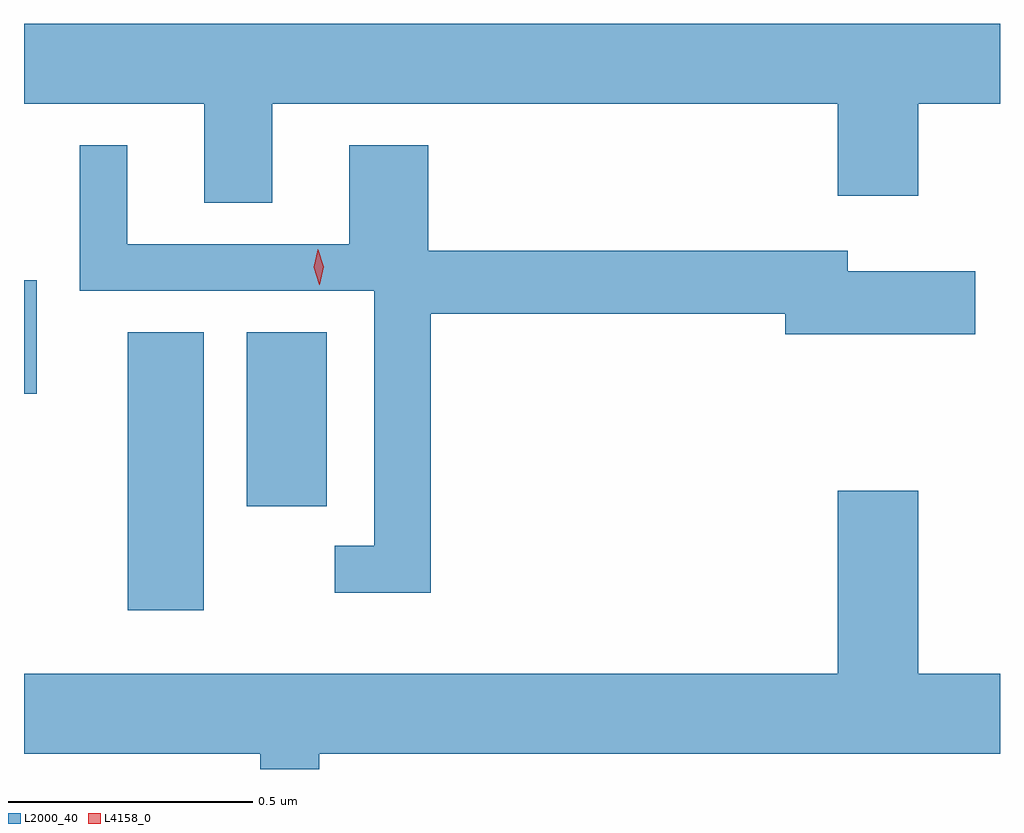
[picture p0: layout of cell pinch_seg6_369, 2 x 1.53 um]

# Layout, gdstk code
import gdstk
lib = gdstk.Library(unit=1e-6, precision=1e-09)
def R(c, l, rs):  # rectangles x0, y0, x1, y1
    for r in rs: c.add(gdstk.rectangle(r[:2], r[2:], *l))
def P(c, l, *ps):  # polygons
    for p in ps: c.add(gdstk.Polygon(p, *l))
L2000_40 = (2000, 40)
L4158_0 = (4158, 0)

pinch_seg6_369 = lib.new_cell('pinch_seg6_369')
R(pinch_seg6_369, L2000_40, [(667.049,938.307,667.204,938.876), (667.292,938.52,667.456,938.876), (666.836,938.75,666.862,938.983)])
P(pinch_seg6_369, L2000_40, [(667.345,939.344),(668.504,939.344),(668.504,939.156),(668.668,939.156),(668.668,939.344),(668.836,939.344),(668.836,939.508),(666.836,939.508),(666.836,939.344),(667.205,939.344),(667.205,939.142),(667.345,939.142)],
  [(667.67,938.914),(668.396,938.914),(668.396,938.872),(668.785,938.872),(668.785,939.001),(668.524,939.001),(668.524,939.043),(667.664,939.043),(667.664,939.259),(667.502,939.259),(667.502,939.057),(667.048,939.057),(667.048,939.259),(666.95,939.259),(666.95,938.961),(667.554,938.961),(667.554,938.439),(667.473,938.439),(667.473,938.342),(667.67,938.342)],
  [(667.441,938.012),(668.836,938.012),(668.836,938.176),(668.668,938.176),(668.668,938.551),(668.504,938.551),(668.504,938.176),(666.836,938.176),(666.836,938.012),(667.32,938.012),(667.32,937.981),(667.441,937.981)])
P(pinch_seg6_369, L4158_0, [(667.441,938.973),(667.43,939.009),(667.438,939.045),(667.438,939.046),(667.439,939.045),(667.45,939.01),(667.442,938.973),(667.442,938.973)])

lib.write_gds('pinch_seg6_369.gds')
